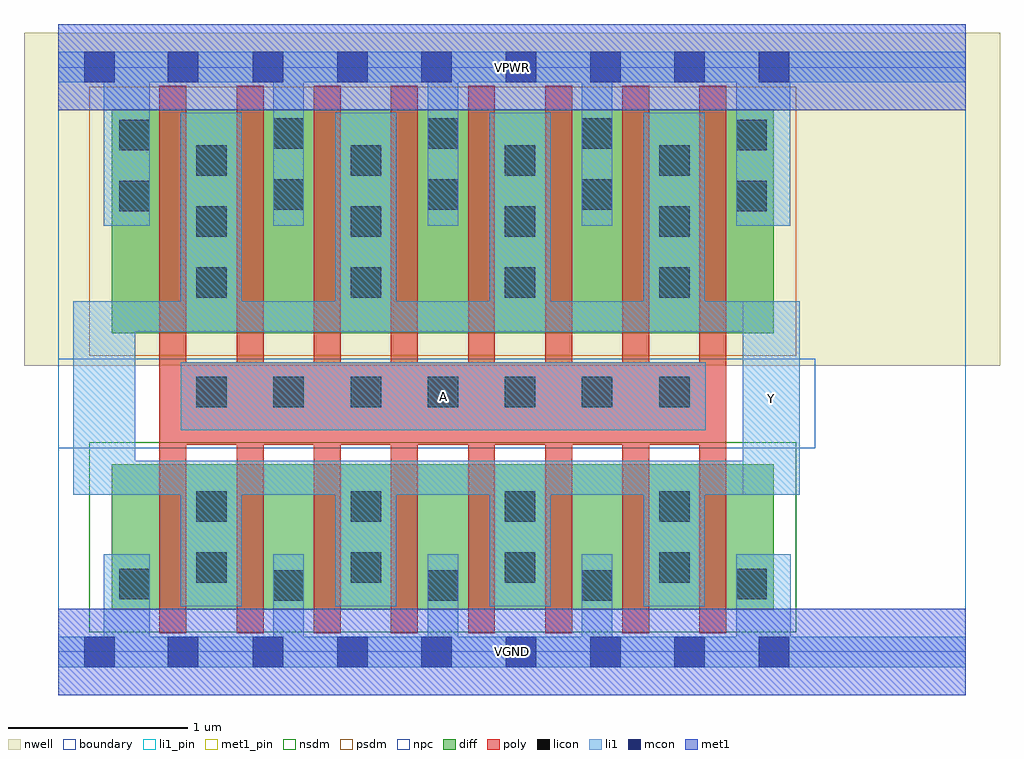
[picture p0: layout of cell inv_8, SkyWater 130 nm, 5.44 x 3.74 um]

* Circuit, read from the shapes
.subckt inv_8 A VGND VPWR Y
XM1 Y A VGND VSUBS sky130_fd_pr__nfet_01v8 w=0.81 l=0.15 m=8
XM2 Y A VPWR n1 sky130_fd_pr__pfet_01v8 w=1.25 l=0.15 m=8
.ends

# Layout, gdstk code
import gdstk
lib = gdstk.Library(unit=1e-6, precision=1e-09)
def R(c, l, rs):  # rectangles x0, y0, x1, y1
    for r in rs: c.add(gdstk.rectangle(r[:2], r[2:], *l))
def A(c, l, x, y, w, h, nx, ny, dx, dy):  # array of equal rectangles
    R(c, l, [(x+i*dx, y+j*dy, x+i*dx+w, y+j*dy+h) for i in range(nx) for j in range(ny)])
nwell = (64, 20)
diff = (65, 20)
poly = (66, 20)
licon = (66, 44)
li1_pin = (67, 16)
li1 = (67, 20)
mcon = (67, 44)
met1_pin = (68, 16)
met1 = (68, 20)
nsdm = (93, 44)
psdm = (94, 20)
npc = (95, 20)
boundary = (235, 4)

inv_8 = lib.new_cell('inv_8')
R(inv_8, nwell, [(-0.19,1.595,5.25,3.45), (0,1.595,5.06,3.45)])
R(inv_8, diff, [(0.3,0.235,3.99,1.045), (0.3,1.775,3.99,3.025)])
A(inv_8, poly, 0.565, 0.105, 0.15, 3.05, 8, 1, 0.43, 0)
R(inv_8, poly, [(0.565,1.155,3.725,1.615)])
A(inv_8, licon, 1.2, 0.285, 0.17, 0.17, 3, 2, 0.86, 2.18)
A(inv_8, licon, 0.77, 0.385, 0.17, 0.17, 4, 2, 0.86, 0.34)
A(inv_8, licon, 0.77, 1.365, 0.17, 0.17, 7, 1, 0.43, 0)
A(inv_8, licon, 0.77, 1.975, 0.17, 0.17, 4, 3, 0.86, 0.34)
A(inv_8, licon, 1.2, 2.805, 0.17, 0.17, 3, 1, 0.86, 0)
R(inv_8, licon, [(0.34,0.295,0.51,0.465), (3.78,0.295,3.95,0.465), (0.34,2.455,0.51,2.625), (3.78,2.455,3.95,2.625), (0.34,2.795,0.51,2.965), (3.78,2.795,3.95,2.965)])
R(inv_8, li1_pin, [(3.815,0.875,4.135,1.955), (0.685,1.235,3.61,1.615)])
A(inv_8, li1, 1.2, -0.085, 0.17, 0.63, 3, 1, 0.86, 0)
A(inv_8, li1, 0.685, 0.255, 0.34, 0.81, 4, 1, 0.86, 0)
A(inv_8, li1, 0.685, 1.785, 0.34, 1.22, 4, 1, 0.86, 0)
A(inv_8, li1, 1.2, 2.375, 0.17, 0.97, 3, 1, 0.86, 0)
R(inv_8, li1, [(0,-0.085,5.06,0.085), (0.255,-0.085,0.51,0.545), (3.78,-0.085,4.085,0.545), (0.085,0.875,4.135,1.065), (0.085,0.875,0.43,1.955), (3.815,0.875,4.135,1.955), (0.685,1.235,3.61,1.615), (0.085,1.785,4.135,1.955), (0.255,2.375,0.51,3.345), (3.78,2.375,4.08,3.345), (0,3.175,5.06,3.345)])
A(inv_8, mcon, 1.085, -0.085, 0.17, 0.17, 7, 2, 0.47, 3.26)
R(inv_8, mcon, [(0.145,-0.085,0.315,0.085), (0.61,-0.085,0.78,0.085), (0.145,3.175,0.315,3.345), (0.61,3.175,0.78,3.345)])
R(inv_8, met1_pin, [(0,-0.24,5.06,0.24), (0,3.02,5.06,3.5)])
R(inv_8, met1, [(0,-0.24,5.06,0.24), (0,3.02,5.06,3.5)])
R(inv_8, nsdm, [(0.175,0.11,4.115,1.17)])
R(inv_8, psdm, [(0.175,1.65,4.115,3.15)])
R(inv_8, npc, [(0,1.135,4.22,1.635)])
R(inv_8, boundary, [(0,0,5.06,3.26)])
inv_8.add(gdstk.Label('A', (2.147,1.425), layer=67, texttype=5))
inv_8.add(gdstk.Label('Y', (3.975,1.415), layer=67, texttype=5))
inv_8.add(gdstk.Label('VPWR', (2.53,3.26), layer=68, texttype=5))
inv_8.add(gdstk.Label('VGND', (2.53,0), layer=68, texttype=5))
inv_8.add(gdstk.Label('A', (2.147,1.425), layer=67, texttype=16))
inv_8.add(gdstk.Label('Y', (3.975,1.415), layer=67, texttype=16))
inv_8.add(gdstk.Label('VPWR', (2.53,3.26), layer=68, texttype=16))
inv_8.add(gdstk.Label('VGND', (2.53,0), layer=68, texttype=16))

lib.write_gds('inv_8.gds')
